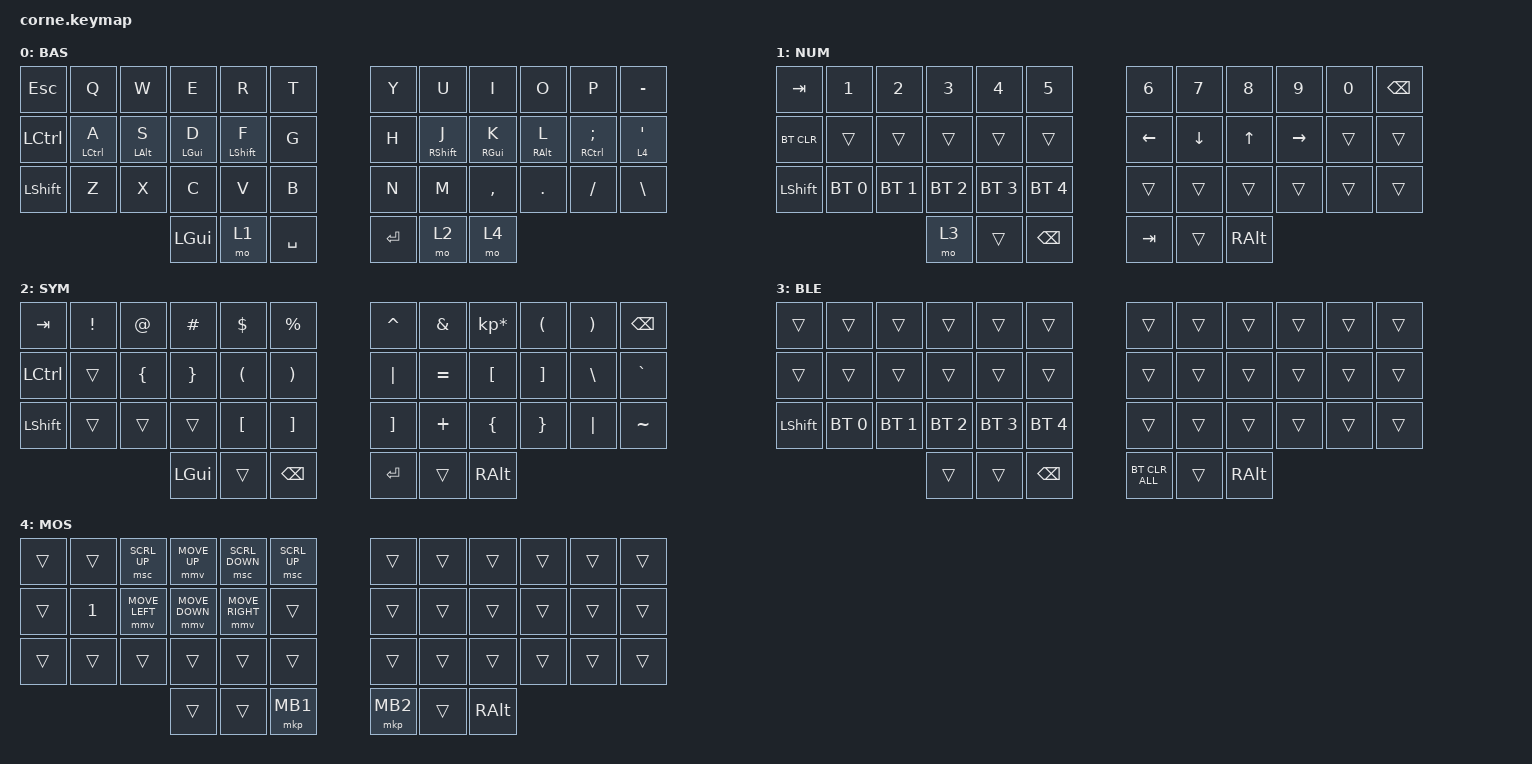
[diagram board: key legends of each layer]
/*
 * Copyright (c) 2020 The ZMK Contributors
 *
 * SPDX-License-Identifier: MIT
 */

#define ZMK_POINTING_DEFAULT_MOVE_VAL 1750
#define ZMK_POINTING_DEFAULT_SCROLL_VAL 50

#include <behaviors.dtsi>
#include <dt-bindings/zmk/keys.h>
#include <dt-bindings/zmk/bt.h>

#include <dt-bindings/zmk/pointing.h>

&mmv {
    x-input-code = <INPUT_REL_X>;
    y-input-code = <INPUT_REL_Y>;
    time-to-max-speed-ms = <500>;
    acceleration-exponent = <1>;
};

// Consider using hold-trigger-key-positions to force cross-hand modifiers for the home row

/ {
        behaviors {
                hm: homerow_mods {
                        compatible = "zmk,behavior-hold-tap";
                        #binding-cells = <2>;
                        tapping-term-ms = <200>;
                        quick-tap-ms = <0>;
                        flavor = "tap-preferred";
                        bindings = <&kp>, <&kp>;
                        retro-tap;
                };
        };

        keymap {
                compatible = "zmk,keymap";

                default_layer {
                    display-name = "BAS";
// -----------------------------------------------------------------------------------------
// |  TAB |     Q    |    W    |    E    |     R     |  T  |   |     Y     |    U     |    I    |     O    |  P  |  -   |
// | CTRL |  CTRL A  |  ALT S  |  GUI D  |  SHIFT F  |  G  |   |  SHIFT H  |  GUI J   |  ALT K  |  CTRL L  |  ;  |  '   |
// | SHFT |     Z    |    X    |    C    |     V     |  B  |   |     N     |    M     |    ,    |     .    |  /  |  \   |
//                             | GUI     |    LWR    | SPC |   |    ENT    |   RSE    |   ALT   |
                        bindings = <
   &kp ESC   &kp Q &kp W &kp E &kp R &kp T   &kp Y &kp U  &kp I     &kp O   &kp P    &kp MINUS
   &kp LCTRL &hm LCTRL A &hm LALT S &hm LGUI D &hm LSHIFT F &kp G   &kp H &hm RSHIFT J  &hm RGUI K &hm RALT L  &hm RCTRL SEMI &lt 4 SQT
   &kp LSHFT &kp Z &kp X &kp C &kp V &kp B   &kp N &kp M  &kp COMMA &kp DOT &kp FSLH &kp BSLH
                  &kp LGUI &mo 1 &kp SPACE   &kp RET &mo 2 &mo 4
                        >;
                };
                lower_layer {
                    display-name = "NUM";
// ------------------------------------------------------------------------------------------
// |  TAB |  1  |  2  |  3  |  4  |  5  |   |  6  |  7  |  8  |  9  |  0  | BKSP |
// | BTCLR|     |     |     |     |     |   | LFT | DWN |  UP | RGT |     |      |
// | SHFT | BT1 | BT2 | BT3 | BT4 | BT5 |   |     |     |     |     |     |      |
//              |  LGUI BTCLRALL |     | SPC |   | ENT |     | ALT |
                        bindings = <
   &kp TAB    &kp N1       &kp N2       &kp N3       &kp N4       &kp N5          &kp N6   &kp N7   &kp N8 &kp N9    &kp N0 &kp BSPC
   &bt BT_CLR &trans       &trans       &trans       &trans       &trans          &kp LEFT &kp DOWN &kp UP &kp RIGHT &trans &trans
   &kp LSHFT  &bt BT_SEL 0 &bt BT_SEL 1 &bt BT_SEL 2 &bt BT_SEL 3 &bt BT_SEL 4    &trans   &trans   &trans &trans    &trans &trans
                                &mo 3  &trans    &kp BSPC           &kp TAB  &trans   &kp RALT
                        >;
                };

                raise_layer {
                    display-name = "SYM";
// -----------------------------------------------------------------------------------------
// |  TAB |  !  |  @  |  #  |  $  |  %  |   |  ^  |  &  |  *  |  (  |  )  | BKSP |
// | CTRL |     |  {  |  }  |  (  |  )  |   | "|" |  =  |  [  |  ]  |  \  |  `   |
// | SHFT |     |     |     |  [  |  ]  |   |  ]  |  +  |  {  |  }  | "|" |  ~   |
//                    | GUI |     | SPC |   | ENT |     | ALT |
                        bindings = <
   &kp  TAB  &kp EXCL &kp AT &kp HASH &kp DLLR &kp PRCNT   &kp CARET &kp AMPS  &kp KP_MULTIPLY &kp LPAR &kp RPAR &kp BSPC
   &kp LCTRL &trans   &kp LBRC &kp RBRC   &kp LPAR   &kp RPAR      &kp PIPE &kp EQUAL &kp LBKT        &kp RBKT &kp BSLH &kp GRAVE
   &kp LSHFT &trans   &trans &trans   &kp LBKT   &kp RBKT      &kp RBKT &kp PLUS  &kp LBRC        &kp RBRC &kp PIPE &kp TILDE
                             &kp LGUI &trans   &kp BSPC   &kp RET   &trans    &kp RALT
                        >;
                };
                bt_layer {
                    display-name = "BLE";
// ------------------------------------------------------------------------------------------
// |  TAB |  1  |  2  |  3  |  4  |  5   |   |  6  |  7  |  8  |  9  |  0  | BKSP |
// | BTCLR|     |     |     |     |      |   | LFT | DWN |  UP | RGT |     |      |
// | SHFT | BT1 | BT2 | BT3 | BT4 | BT5  |   |     |     |     |     |     |      |
//              |     |     |     | BSPC |   | CLR ALL | ALT |
                        bindings = <
   &trans    &trans      &trans      &trans      &trans      &trans          &trans   &trans   &trans &trans    &trans &trans
   &trans    &trans      &trans      &trans      &trans      &trans          &trans   &trans   &trans &trans    &trans &trans
   &kp LSHFT  &bt BT_SEL 0 &bt BT_SEL 1 &bt BT_SEL 2 &bt BT_SEL 3 &bt BT_SEL 4    &trans   &trans   &trans &trans    &trans &trans
                                &trans  &trans    &kp BSPC           &bt BT_CLR_ALL  &trans   &kp RALT
                        >;
                };

                mouse_layer {
                    display-name = "MOS";
                bindings = <
   &trans    &trans      &msc SCRL_UP   &mmv MOVE_UP   &msc SCRL_DOWN   &msc SCRL_UP          &trans   &trans   &trans &trans    &trans &trans
   &trans    &kp N1      &mmv MOVE_LEFT &mmv MOVE_DOWN &mmv MOVE_RIGHT  &trans          &trans   &trans   &trans &trans    &trans &trans
   &trans    &trans      &trans         &trans         &trans           &trans    &trans   &trans   &trans &trans    &trans &trans
                                &trans  &trans    &mkp MB1           &mkp MB2  &trans   &kp RALT
                        >;

                };
        };
};
